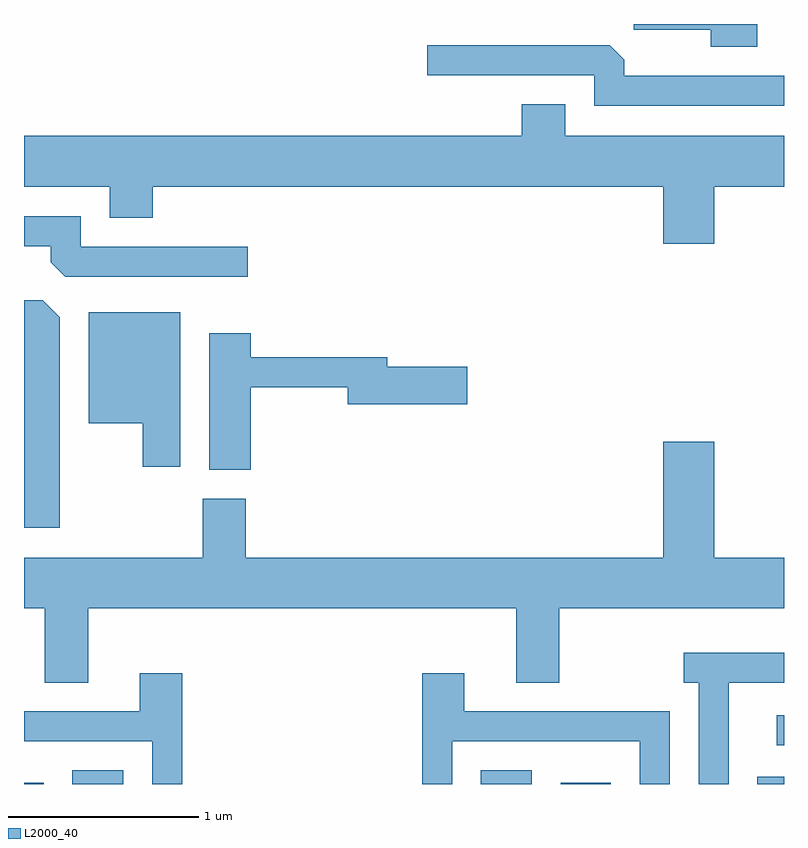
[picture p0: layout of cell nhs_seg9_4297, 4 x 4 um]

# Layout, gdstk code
import gdstk
lib = gdstk.Library(unit=1e-6, precision=1e-09)
def R(c, l, rs):  # rectangles x0, y0, x1, y1
    for r in rs: c.add(gdstk.rectangle(r[:2], r[2:], *l))
def P(c, l, *ps):  # polygons
    for p in ps: c.add(gdstk.Polygon(p, *l))
L2000_40 = (2000, 40)

nhs_seg9_4297 = lib.new_cell('nhs_seg9_4297')
R(nhs_seg9_4297, L2000_40, [(311.611,2006.432,311.714,2006.439), (311.866,2006.432,312.134,2006.504), (314.016,2006.432,314.284,2006.504), (314.436,2006.432,314.699,2006.439), (315.471,2006.432,315.611,2006.469), (315.573,2006.636,315.611,2006.794)])
P(nhs_seg9_4297, L2000_40, [(315.469,2010.432),(314.821,2010.432),(314.821,2010.401),(315.226,2010.401),(315.226,2010.311),(315.469,2010.311)],
  [(315.611,2010.159),(314.769,2010.159),(314.769,2010.244),(314.694,2010.319),(313.733,2010.319),(313.733,2010.161),(314.611,2010.161),(314.611,2010.001),(315.611,2010.001)],
  [(315.244,2009.576),(315.611,2009.576),(315.611,2009.844),(314.459,2009.844),(314.459,2010.009),(314.231,2010.009),(314.231,2009.844),(311.611,2009.844),(311.611,2009.576),(312.061,2009.576),(312.061,2009.411),(312.289,2009.411),(312.289,2009.576),(314.976,2009.576),(314.976,2009.276),(315.244,2009.276)],
  [(312.788,2009.259),(311.909,2009.259),(311.909,2009.419),(311.611,2009.419),(311.611,2009.261),(311.751,2009.261),(311.751,2009.177),(311.827,2009.101),(312.788,2009.101)],
  [(311.799,2008.889),(311.709,2008.979),(311.611,2008.979),(311.611,2007.781),(311.799,2007.781)],
  [(312.434,2008.914),(311.951,2008.914),(311.951,2008.331),(312.236,2008.331),(312.236,2008.101),(312.434,2008.101)],
  [(312.804,2008.521),(313.316,2008.521),(313.316,2008.431),(313.944,2008.431),(313.944,2008.629),(313.524,2008.629),(313.524,2008.679),(312.804,2008.679),(312.804,2008.804),(312.586,2008.804),(312.586,2008.086),(312.804,2008.086)],
  [(311.949,2007.356),(314.201,2007.356),(314.201,2006.966),(314.429,2006.966),(314.429,2007.356),(315.611,2007.356),(315.611,2007.624),(315.244,2007.624),(315.244,2008.234),(314.976,2008.234),(314.976,2007.624),(312.779,2007.624),(312.779,2007.934),(312.551,2007.934),(312.551,2007.624),(311.611,2007.624),(311.611,2007.356),(311.721,2007.356),(311.721,2006.966),(311.949,2006.966)],
  [(315.319,2006.966),(315.611,2006.966),(315.611,2007.124),(315.083,2007.124),(315.083,2006.966),(315.161,2006.966),(315.161,2006.432),(315.319,2006.432)],
  [(313.864,2006.656),(314.851,2006.656),(314.851,2006.432),(315.009,2006.432),(315.009,2006.814),(313.929,2006.814),(313.929,2007.014),(313.706,2007.014),(313.706,2006.432),(313.864,2006.432)],
  [(312.444,2007.014),(312.221,2007.014),(312.221,2006.814),(311.611,2006.814),(311.611,2006.656),(312.286,2006.656),(312.286,2006.432),(312.444,2006.432)])

lib.write_gds('nhs_seg9_4297.gds')
